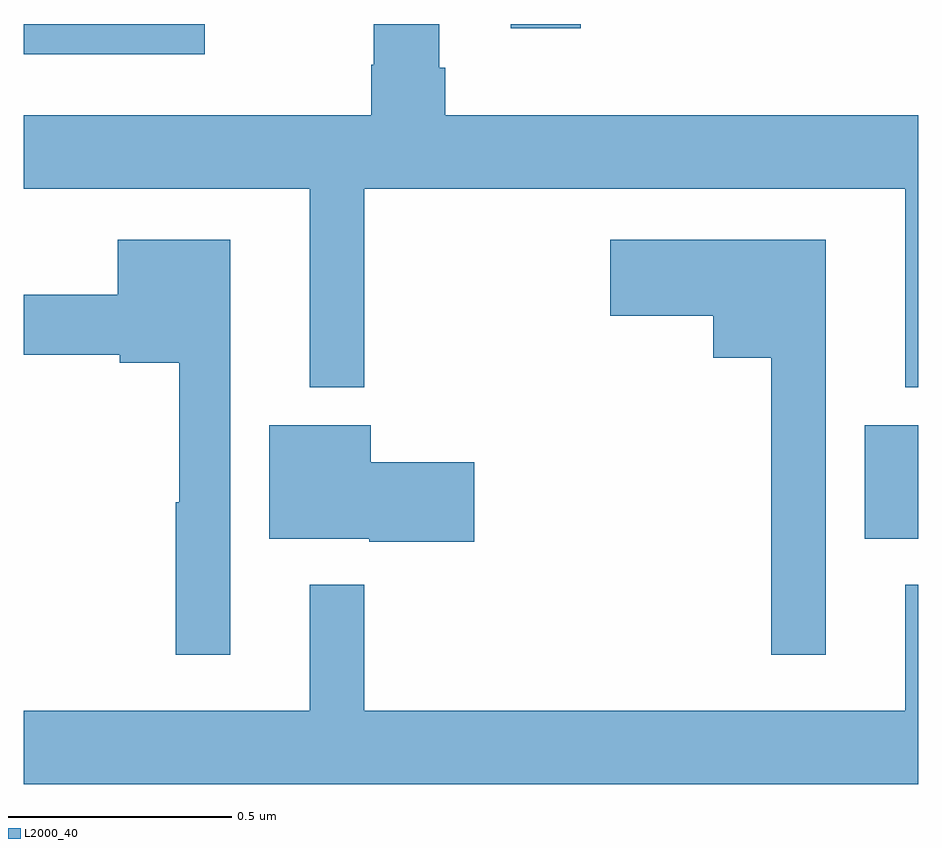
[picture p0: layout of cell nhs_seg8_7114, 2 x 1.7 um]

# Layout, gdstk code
import gdstk
lib = gdstk.Library(unit=1e-6, precision=1e-09)
def R(c, l, rs):  # rectangles x0, y0, x1, y1
    for r in rs: c.add(gdstk.rectangle(r[:2], r[2:], *l))
def P(c, l, *ps):  # polygons
    for p in ps: c.add(gdstk.Polygon(p, *l))
L2000_40 = (2000, 40)

nhs_seg8_7114 = lib.new_cell('nhs_seg8_7114')
R(nhs_seg8_7114, L2000_40, [(207.881,1083.749,208,1084.003), (206,1084.832,206.404,1084.9), (207.089,1084.89,207.245,1084.9)])
P(nhs_seg8_7114, L2000_40, [(206.761,1084.532),(207.971,1084.532),(207.971,1084.088),(208,1084.088),(208,1084.696),(206.942,1084.696),(206.942,1084.802),(206.929,1084.802),(206.929,1084.9),(206.782,1084.9),(206.782,1084.809),(206.777,1084.809),(206.777,1084.696),(206,1084.696),(206,1084.532),(206.639,1084.532),(206.639,1084.088),(206.761,1084.088)],
  [(206.461,1084.417),(206.21,1084.417),(206.21,1084.294),(206,1084.294),(206,1084.16),(206.214,1084.16),(206.214,1084.142),(206.347,1084.142),(206.347,1083.83),(206.34,1083.83),(206.34,1083.489),(206.461,1083.489)],
  [(207.793,1084.417),(207.312,1084.417),(207.312,1084.247),(207.542,1084.247),(207.542,1084.154),(207.672,1084.154),(207.672,1083.489),(207.793,1083.489)],
  [(207.007,1083.92),(206.776,1083.92),(206.776,1084.003),(206.549,1084.003),(206.549,1083.749),(206.772,1083.749),(206.772,1083.742),(207.007,1083.742)],
  [(208,1083.646),(207.971,1083.646),(207.971,1083.364),(206.761,1083.364),(206.761,1083.646),(206.639,1083.646),(206.639,1083.364),(206,1083.364),(206,1083.2),(208,1083.2)])

lib.write_gds('nhs_seg8_7114.gds')
